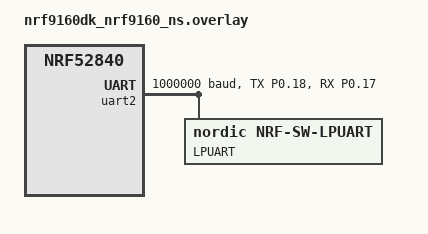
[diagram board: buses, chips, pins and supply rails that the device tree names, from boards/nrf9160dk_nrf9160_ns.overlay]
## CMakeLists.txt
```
#
# Copyright (c) 2018 Nordic Semiconductor ASA
#
# SPDX-License-Identifier: LicenseRef-Nordic-5-Clause
#

cmake_minimum_required(VERSION 3.20.0)

find_package(Zephyr REQUIRED HINTS $ENV{ZEPHYR_BASE})
project(ble_to_cloud)

# NORDIC SDK APP START
target_sources(app PRIVATE src/main.c)
# NORDIC SDK APP END

# Include source directory
target_include_directories(app PRIVATE src)

add_subdirectory(src/events)
add_subdirectory(src/modules)
#add_subdirectory(src/include)
#add_subdirectory(src/cert)
```

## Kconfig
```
#
# Copyright (c) 2021 Nordic Semiconductor ASA
#
# SPDX-License-Identifier: LicenseRef-Nordic-5-Clause
#

menu "BLE_TO_CLOUD"

config BLE_TO_CLOUD_APP_VERSION
	string "Bluetooth to cloud application firmware version"
	default "0.0.0-development"

config BLE_TO_CLOUD_APP_VERSION_MAX_LEN
	int "Maximum length of application firmware version"
	default 150

config BOARD_THINGY91
	bool "Set when flashing to thingy91_nrf9160ns"
	default n

config POWER_SAVING_MODE_ENABLE
	bool "Power saving"
	default y

config MAX_OUTGOING_MESSAGES
	int "Outgoing message maximum"
	default 5
	help
	  Sets the maximum number of device messages which may be enqueued
	  before further messages are dropped.

config MAX_MESSAGE_SIZE
	int "Maximum message size of cloud messages"
	default 120
	help
	  Maximum allowed size of an message to the cloud before it overflows.

config MAX_CONSECUTIVE_SEND_FAILURES
	int "Max outgoing consecutive send failures"
	default 5
	help
	  Sets the maximum number of device messages which may fail to send
	  before a connection reset and cooldown is triggered.

config CONSECUTIVE_SEND_FAILURE_COOLDOWN_SECONDS
	int "Cooldown after max consecutive send failures exceeded"
	default 10
	help
	  If a connection reset is triggered by too many failed device
	  messages, the sample will wait this long (in seconds) before trying
	  again.

config SMS_SEND_PHONE_NUMBER
	string "Phone number, including country code, where the SMS message is sent"
	default "+4747448146"

config SMS_WARNING_ENABLED
	bool "Enable if you want sms warnings when the hive reaches alarming levels"
	default n
	
config WARNING_DELAY_HOURS
	int "Amount of time that will be passed before the next warning is sent."
	default 24
	help
	  Amount of time that will be passed before the next warning is sent, to avoid multiple 
	  messages being sent with every update from sensors.

config SAMPLE_TFM_MBEDTLS
	bool "Use TF-M and MbedTLS"
	help
	  Use TF-M and MbedTLS in this sample instead of using
	  the offloaded TLS stack in the modem.

config WATCHDOG_ENABLE
	bool "Enable if you want the watchdog timer to be active"
	default n

endmenu

menu "Zephyr Kernel"
source "Kconfig.zephyr"
endmenu

module = APPLICATION_MODULE
module-str = Application module
source "subsys/logging/Kconfig.template.log_config"
```

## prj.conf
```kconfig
#
# Copyright (c) 2020 Nordic Semiconductor ASA
#
# SPDX-License-Identifier: LicenseRef-Nordic-5-Clause
#

# Enable events
CONFIG_APP_EVENT_MANAGER=y
CONFIG_APP_EVENT_MANAGER_LOG_LEVEL_DBG=y
CONFIG_LINKER_ORPHAN_SECTION_PLACE=y

# Button support
CONFIG_DK_LIBRARY=y

# Enable logging
CONFIG_LOG=y
CONFIG_LOG_DEFAULT_LEVEL=4

CONFIG_USE_SEGGER_RTT=n
CONFIG_RTT_CONSOLE=n
CONFIG_UART_CONSOLE=y

CONFIG_LOG_BACKEND_RTT=n

# Enable Bluetooth stack and libraries
CONFIG_BT=y
CONFIG_BT_H4=y
CONFIG_BT_WAIT_NOP=y
CONFIG_BT_CENTRAL=y
CONFIG_BT_SMP=y
CONFIG_BT_GATT_CLIENT=y
CONFIG_BT_CONN_CTX=y
# Change to number of hives you want to monitor.
CONFIG_BT_MAX_CONN=2  
CONFIG_BT_MAX_PAIRED=2

# Enable the BLE modules from NCS
CONFIG_BT_NUS_CLIENT=y
CONFIG_BT_SCAN=y
CONFIG_BT_SCAN_FILTER_ENABLE=y
CONFIG_BT_SCAN_UUID_CNT=1
CONFIG_BT_GATT_DM=y

# Enable bonding
CONFIG_BT_SETTINGS=y
CONFIG_FLASH=y
CONFIG_FLASH_PAGE_LAYOUT=y
CONFIG_FLASH_MAP=y
CONFIG_NVS=y

# Heap and stacks
CONFIG_HEAP_MEM_POOL_SIZE=16384
CONFIG_MAIN_STACK_SIZE=8192
# Extended memory heap size needed for encoding nRF Cloud messages to JSON
CONFIG_SYSTEM_WORKQUEUE_STACK_SIZE=8192

# Enable the UART driver
# I think this is unneeded
CONFIG_UART_ASYNC_API=y
CONFIG_NRFX_UARTE0=y
CONFIG_SERIAL=y

# Make sure printk is not printing to the UART console
CONFIG_CONSOLE=y
CONFIG_UART_CONSOLE=y

# General config
CONFIG_EVENTS=y
CONFIG_NEWLIB_LIBC=y
CONFIG_NEWLIB_LIBC_FLOAT_PRINTF=y
CONFIG_NCS_SAMPLES_DEFAULTS=y
CONFIG_RESET_ON_FATAL_ERROR=y
CONFIG_REBOOT=y

# Network
CONFIG_NETWORKING=y
CONFIG_NET_NATIVE=n
CONFIG_NET_SOCKETS=y
CONFIG_NET_SOCKETS_OFFLOAD=y

# LTE link control
CONFIG_LTE_LINK_CONTROL=y
CONFIG_LTE_NETWORK_MODE_LTE_M=y
CONFIG_LTE_LOCK_BANDS=y
# Set channels to the ones enabled in Europe: https://www.nordicsemi.com/Products/Low-power-Cellular-IoT/nRF9160-Certifications
CONFIG_LTE_LOCK_BAND_MASK="1000000010000000000010000101"
CONFIG_LTE_AUTO_INIT_AND_CONNECT=n

# Modem library
CONFIG_NRF_MODEM_LIB=y
CONFIG_NRF_MODEM_LIB_TRACE_ENABLED=y
CONFIG_MODEM_KEY_MGMT=y

# AT commands interface
CONFIG_UART_INTERRUPT_DRIVEN=y
CONFIG_AT_HOST_LIBRARY=y

# nRF Cloud
CONFIG_NRF_CLOUD_MQTT=y
CONFIG_NRF_CLOUD_CONNECTION_POLL_THREAD=y

# MQTT
CONFIG_MQTT_KEEPALIVE=1200

# Heap and stacks
# Extended memory heap size needed for encoding nRF Cloud messages to JSON
CONFIG_SYSTEM_WORKQUEUE_STACK_SIZE=16384
# Settings, used by nRF Cloud library.
CONFIG_SETTINGS=y
CONFIG_SETTINGS_FCB=y
CONFIG_FCB=y

# Flash storage, used by settings.
CONFIG_MPU_ALLOW_FLASH_WRITE=y

# Enabling timestamping messages
CONFIG_DATE_TIME=y
CONFIG_DATE_TIME_AUTO_UPDATE=y
CONFIG_DATE_TIME_MODEM=y
CONFIG_DATE_TIME_LOG_LEVEL_DBG=y
CONFIG_APPLICATION_INIT_PRIORITY=79

CONFIG_POWER_SAVING_MODE_ENABLE=y

## Power saving timers.
### 320 hours PSM.
# CONFIG_LTE_PSM_REQ_RPTAU="00011111"
# CONFIG_LTE_PSM_REQ_RPTAU="00100001"
### 2 seconds active time.
# CONFIG_LTE_PSM_REQ_RAT="11100000"
# CONFIG_LTE_PSM_REQ_RAT="00000000"

# CONFIG_UDP_PSM_ENABLE=y
# CONFIG_LTE_PSM_REQ_RPTAU="00100001"
# CONFIG_LTE_PSM_REQ_RAT="00000000"

# Enable the Power manager
CONFIG_PM=y
CONFIG_PM_DEVICE=y

# MCUBOOT - Needed by FOTA
CONFIG_BOOTLOADER_MCUBOOT=y
CONFIG_IMG_MANAGER=y
CONFIG_MCUBOOT_IMG_MANAGER=y
CONFIG_STREAM_FLASH_ERASE=y

# Mitigation for NCSIDB-356
CONFIG_ZERO_LATENCY_IRQS=n

CONFIG_NRF_SW_LPUART=y
CONFIG_NRF_SW_LPUART_INT_DRIVEN=y

CONFIG_MAX_OUTGOING_MESSAGES=4

# SMS module support
CONFIG_SMS_WARNING_ENABLED=n

CONFIG_SMS_SEND_PHONE_NUMBER="+4747448146"

CONFIG_SMS=y
CONFIG_SMS_SUBSCRIBERS_MAX_CNT=2
CONFIG_SMS_LOG_LEVEL_DBG=y

## Watchdog section ##
CONFIG_WATCHDOG_ENABLE=y
CONFIG_WATCHDOG=y
CONFIG_WDT_LOG_LEVEL_DBG=y
CONFIG_WDT_DISABLE_AT_BOOT=y
CONFIG_TASK_WDT=y
CONFIG_TASK_WDT_MIN_TIMEOUT=500

## NVS section ##
# CONFIG_FLASH=y
# CONFIG_FLASH_PAGE_LAYOUT=y
# CONFIG_NVS=y
# CONFIG_LOG=y
CONFIG_NVS_LOG_LEVEL_DBG=y
# CONFIG_REBOOT=y
# CONFIG_MPU_ALLOW_FLASH_WRITE=y
```

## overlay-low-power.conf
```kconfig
#
# Copyright (c) 2021 Nordic Semiconductor ASA
#
# SPDX-License-Identifier: LicenseRef-Nordic-5-Clause
#

# This file contains configurations to achieve the lowest power consumption by
# disabling logging over RTT.

CONFIG_USE_SEGGER_RTT=n
CONFIG_RTT_CONSOLE=n
CONFIG_UART_CONSOLE=n

CONFIG_LOG_BACKEND_RTT=n

CONFIG_CONSOLE=n
# CONFIG_SERIAL=n
# Disable the DevKit library because the button polling draws a lot of power.
CONFIG_DK_LIBRARY=n

CONFIG_TFM_PROFILE_TYPE_MINIMAL=y
```

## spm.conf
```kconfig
CONFIG_IS_SPM=y
CONFIG_FW_INFO=y
CONFIG_GPIO=y
CONFIG_SERIAL=n
```

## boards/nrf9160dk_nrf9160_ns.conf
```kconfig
CONFIG_UART_2_ASYNC=y
CONFIG_UART_2_INTERRUPT_DRIVEN=n
CONFIG_UART_2_NRF_HW_ASYNC=y
CONFIG_UART_2_NRF_HW_ASYNC_TIMER=2

CONFIG_NRF_MODEM_LIB_TRACE_ENABLED=n
CONFIG_AT_HOST_LIBRARY=n
```

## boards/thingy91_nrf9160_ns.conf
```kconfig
#
# Copyright (c) 2020 Nordic Semiconductor ASA
#
# SPDX-License-Identifier: LicenseRef-Nordic-5-Clause
#
CONFIG_BOARD_THINGY91=y

# NewLib C
CONFIG_NEWLIB_LIBC=y

#Bluetooth
CONFIG_BT_WAIT_NOP=y
# CONFIG_BT_L2CAP_TX_MTU=247
# CONFIG_BT_HCI_ACL_FLOW_CONTROL=y

# Disable Modem traces, since we need UART1 for HCI
CONFIG_NRF_MODEM_LIB_TRACE_ENABLED=n

# Need to reset for nRF52840 and nRF9160 chips to communicate
CONFIG_RESET_ON_FATAL_ERROR=y
CONFIG_REBOOT=y

#Needed for communication with the nRF52840-chip 
CONFIG_NRF_SW_LPUART=y
CONFIG_NRF_SW_LPUART_INT_DRIVEN=y

CONFIG_UART_1_ASYNC=y
CONFIG_UART_1_INTERRUPT_DRIVEN=n
CONFIG_UART_1_NRF_HW_ASYNC=y
CONFIG_UART_1_NRF_HW_ASYNC_TIMER=2

# CONFIG_AT_CMD=y
CONFIG_AT_HOST_LIBRARY=n
```

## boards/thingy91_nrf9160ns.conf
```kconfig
#
# Copyright (c) 2020 Nordic Semiconductor ASA
#
# SPDX-License-Identifier: LicenseRef-Nordic-5-Clause
#
CONFIG_BOARD_THINGY91=y

# NewLib C
CONFIG_NEWLIB_LIBC=y

#Bluetooth
CONFIG_BT_WAIT_NOP=y
CONFIG_BT_L2CAP_TX_MTU=247
CONFIG_BT_HCI_ACL_FLOW_CONTROL=y
CONFIG_UART_INTERRUPT_DRIVEN=y

# Heap and stacks
CONFIG_HEAP_MEM_POOL_SIZE=16384
CONFIG_MAIN_STACK_SIZE=8192

# Disable Modem traces, since we need UART1 for HCI
CONFIG_NRF_MODEM_LIB_TRACE_ENABLED=n

# Need to reset for nRF52840 and nRF9160 chips to communicate
CONFIG_RESET_ON_FATAL_ERROR=y
CONFIG_REBOOT=y

# Enabling timestamping messages
CONFIG_DATE_TIME=y
CONFIG_DATE_TIME_UPDATE_INTERVAL_SECONDS=3600
CONFIG_DATE_TIME_MODEM=y

CONFIG_NRF_SW_LPUART=y
CONFIG_NRF_SW_LPUART_INT_DRIVEN=y

CONFIG_UART_1_ASYNC=y
CONFIG_UART_1_INTERRUPT_DRIVEN=n
CONFIG_UART_1_NRF_HW_ASYNC=y
CONFIG_UART_1_NRF_HW_ASYNC_TIMER=2

CONFIG_USE_SEGGER_RTT=y
CONFIG_RTT_CONSOLE=y
CONFIG_UART_CONSOLE=n

CONFIG_LOG_BACKEND_RTT=y

CONFIG_AT_CMD=y
CONFIG_AT_HOST_LIBRARY=n
```

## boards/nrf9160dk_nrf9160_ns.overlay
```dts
#include <nrf9160dk_nrf52840_reset_on_if5.dtsi>

/ {
	chosen {
		zephyr,bt-uart=&lpuart;
	};
};

&gpiote {
	interrupts = <49 NRF_DEFAULT_IRQ_PRIORITY>;
};

&uart2 {
	current-speed = <1000000>;
	status = "okay";
	/delete-property/ hw-flow-control;

	pinctrl-0 = <&uart2_default_alt>;
	pinctrl-1 = <&uart2_sleep_alt>;
	pinctrl-names = "default", "sleep";
	lpuart: nrf-sw-lpuart {
		compatible = "nordic,nrf-sw-lpuart";
		status = "okay";
		label = "LPUART";
		req-pin = <21>; /* <&interface_to_nrf52840 3 0>; */
		rdy-pin = <19>; /* <&interface_to_nrf52840 2 0>; */
	};
};

&pinctrl {
	uart2_default_alt: uart2_default_alt {
		group1 {
			psels = <NRF_PSEL(UART_TX, 0, 18)>,
				<NRF_PSEL(UART_RX, 0, 17)>;
		};
	};

	uart2_sleep_alt: uart2_sleep_alt {
		group1 {
			psels = <NRF_PSEL(UART_TX, 0, 18)>,
				<NRF_PSEL(UART_RX, 0, 17)>;
			low-power-enable;
		};
	};

};
/* Disable uart0 to conserve power, when logging is not needed */
// &uart0 {
// 	status = "disabled";
// };
/* Disable uart1 in nonsecure since it is used by the TFM secure app. */
&uart1 {
	status = "disabled";
};

// Divide storage partition into 2 partitions,
// in order to not erase NVS after reboot when CONFIG_SETTINGS_FCB is enabled.
&flash0 {

	partitions {
		storage_partition: partition@fa000 {
			label = "storage";
			reg = <0x000fa000 0x00005000>;
		};
		storage_nvs_partition: partition@ff000 {
			label = "nvs-storage";
			reg = <0x000ff000 0x00001000>;
		};
	};
};
```

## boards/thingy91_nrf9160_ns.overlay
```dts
/ {
	chosen {
		zephyr,bt-uart=&lpuart;
	};
};

// /* leds {
// 	compatible = "gpio-leds";
// 	red_led: led_1 {
// 		gpios = <&gpio0 29 0>;
// 		label = "RGB red channel";
// 	};
// 	green_led: led_2 {
// 		gpios = <&gpio0 30 0>;
// 		label = "RGB green channel";
// 	};
// 	blue_led: led_3 {
// 		gpios = <&gpio0 31 0>;
// 		label = "RGB blue channel";
// 	};
// 	/delete-property/  sense_red_led;
// 	/delete-property/ sense_green_led;
// 	/delete-property/ sense_blue_led;
// };*/

// &pwm1 {
// 	status = "disabled";
// 	//ch0-pin = <28>;
// };

// // PWM2 is intended for NMOS transistor control 
// &pwm2 {
// 	status = "disabled";
// 	// ch0-pin = <13>;
// 	// ch1-pin = <14>;
// 	// ch2-pin = <15>;
// 	// ch3-pin = <16>;
// };

// &pwm3 {
// 	status = "disabled";
// };

&i2c2 {
	compatible = "nordic,nrf-twim";
	status = "disabled";
};

&spi3 {
	compatible = "nordic,nrf-spim";
	status = "disabled";
}; 

//UART 1 is used for communication with the nRF52840-chip
&uart1 {
	current-speed = <1000000>;
	status = "okay";
	tx-pin = <22>;
	rx-pin = <23>;
	/delete-property/ rts-pin;
	/delete-property/ cts-pin;
	/delete-property/ hw-flow-control;

	lpuart: nrf-sw-lpuart {
		compatible = "nordic,nrf-sw-lpuart";
		status = "okay";
		label = "LPUART";
		req-pin = <24>;
		rdy-pin = <25>;
	};
};

&gpiote {
	interrupts = <49 NRF_DEFAULT_IRQ_PRIORITY>;
};
```

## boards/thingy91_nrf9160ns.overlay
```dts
/ {
	chosen {
		zephyr,bt-uart=&lpuart;
	};
};

// /* leds {
// 	compatible = "gpio-leds";
// 	red_led: led_1 {
// 		gpios = <&gpio0 29 0>;
// 		label = "RGB red channel";
// 	};
// 	green_led: led_2 {
// 		gpios = <&gpio0 30 0>;
// 		label = "RGB green channel";
// 	};
// 	blue_led: led_3 {
// 		gpios = <&gpio0 31 0>;
// 		label = "RGB blue channel";
// 	};
// 	/delete-property/  sense_red_led;
// 	/delete-property/ sense_green_led;
// 	/delete-property/ sense_blue_led;
// };*/

// &pwm1 {
// 	status = "disabled";
// 	//ch0-pin = <28>;
// };

// // PWM2 is intended for NMOS transistor control 
// &pwm2 {
// 	status = "disabled";
// 	// ch0-pin = <13>;
// 	// ch1-pin = <14>;
// 	// ch2-pin = <15>;
// 	// ch3-pin = <16>;
// };

// &pwm3 {
// 	status = "disabled";
// };

// &i2c2 {
// 	compatible = "nordic,nrf-twim";
// 	status = "disabled";
// };

// &spi3 {
// 	compatible = "nordic,nrf-spim";
// 	status = "disabled";
// }; 

&uart1 {
	current-speed = <1000000>;
	status = "okay";
	tx-pin = <22>;
	rx-pin = <23>;
	/delete-property/ rts-pin;
	/delete-property/ cts-pin;
	/delete-property/ hw-flow-control;

	lpuart: nrf-sw-lpuart {
		compatible = "nordic,nrf-sw-lpuart";
		status = "okay";
		label = "LPUART";
		req-pin = <24>;
		rdy-pin = <25>;
	};
};

&gpiote {
	interrupts = <49 NRF_DEFAULT_IRQ_PRIORITY>;
};
```

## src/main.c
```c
/*
 * Copyright (c) 2018 Nordic Semiconductor ASA
 *
 * SPDX-License-Identifier: LicenseRef-Nordic-5-Clause
 */
#define MODULE app_module

#include <zephyr.h>
#include <stdio.h>
#include <string.h>
#include <logging/log.h>

#include <app_event_manager.h>

LOG_MODULE_REGISTER(MODULE, CONFIG_APPLICATION_MODULE_LOG_LEVEL);

void main(void)
{	

	if(app_event_manager_init()){
		LOG_ERR("Event manager failed to initialize");
		//Restart manually somehow
	}
	else{
		LOG_DBG("Event manager initalized");
	}
}
```
